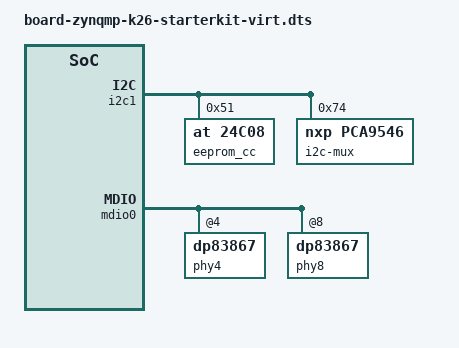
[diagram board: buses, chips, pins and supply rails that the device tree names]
/*
 * ZynqMP K26 Starter Kit device tree
 *
 * Copyright (c) 2021, Xilinx Inc
 * All rights reserved.
 *
 * Redistribution and use in source and binary forms, with or without
 * modification, are permitted provided that the following conditions are met:
 *     * Redistributions of source code must retain the above copyright
 *       notice, this list of conditions and the following disclaimer.
 *     * Redistributions in binary form must reproduce the above copyright
 *       notice, this list of conditions and the following disclaimer in the
 *       documentation and/or other materials provided with the distribution.
 *     * Neither the name of the <organization> nor the
 *       names of its contributors may be used to endorse or promote products
 *       derived from this software without specific prior written permission.
 *
 * THIS SOFTWARE IS PROVIDED BY THE COPYRIGHT HOLDERS AND CONTRIBUTORS "AS IS" AND
 * ANY EXPRESS OR IMPLIED WARRANTIES, INCLUDING, BUT NOT LIMITED TO, THE IMPLIED
 * WARRANTIES OF MERCHANTABILITY AND FITNESS FOR A PARTICULAR PURPOSE ARE
 * DISCLAIMED. IN NO EVENT SHALL <COPYRIGHT HOLDER> BE LIABLE FOR ANY
 * DIRECT, INDIRECT, INCIDENTAL, SPECIAL, EXEMPLARY, OR CONSEQUENTIAL DAMAGES
 * (INCLUDING, BUT NOT LIMITED TO, PROCUREMENT OF SUBSTITUTE GOODS OR SERVICES;
 * LOSS OF USE, DATA, OR PROFITS; OR BUSINESS INTERRUPTION) HOWEVER CAUSED AND
 * ON ANY THEORY OF LIABILITY, WHETHER IN CONTRACT, STRICT LIABILITY, OR TORT
 * (INCLUDING NEGLIGENCE OR OTHERWISE) ARISING IN ANY WAY OUT OF THE USE OF THIS
 * SOFTWARE, EVEN IF ADVISED OF THE POSSIBILITY OF SUCH DAMAGE.
 *
 * K26 Staterkit has a I2C EEPROM's on address 0x51, which can be accessed by
 * using blockdev
 * ex:
 *     -blockdev node-name=i2c1.eeprom-51,filename=eeprom1.bin,driver=file
 */

#include "board-zynqmp-k26-som.dts"

&i2c1 {
	eeprom_cc: eeprom@51 {
		compatible = "at,24c08";
		reg = <0x51>;
		size = <0x2000>;
		blockdev-node-name = "i2c1.eeprom-51";
	};
	slg7xl45106: gpio@11 { /* u19 - reset logic */
		compatible = "i2c-dev-dummy";
		reg = <0x11>;
	};
	i2c-mux@74 { /* u18 */
		compatible = "nxp,pca9546";
		#address-cells = <1>;
		#size-cells = <0>;
		reg = <0x74>;
		usbhub_i2c0: i2c@0 {
			#address-cells = <1>;
			#size-cells = <0>;
			reg = <0>;
			usb0_usb5744: usb5744@0 { /* u43 - usb-hub */
				compatible = "i2c-dev-dummy";
				reg = <0x2d>;
			};
		};
		usbhub_i2c1: i2c@1 {
			#address-cells = <1>;
			#size-cells = <0>;
			reg = <1>;
			usb1_usb5744: usb5744@1 { /* u84 - usb-hub */
				compatible = "i2c-dev-dummy";
				reg = <0x2d>;
			};
		};
	};
};

&mdio0 {
	/delete-node/ phy@7;
	phy4:	phy@4 {
		compatible = "dp83867";
		device_type = "ethernet-phy";
	};
	phy8:	phy@8 {
		compatible = "dp83867";
		device_type = "ethernet-phy";
	};
};

&gem1 {
	mdio = <&mdio0>;
};
